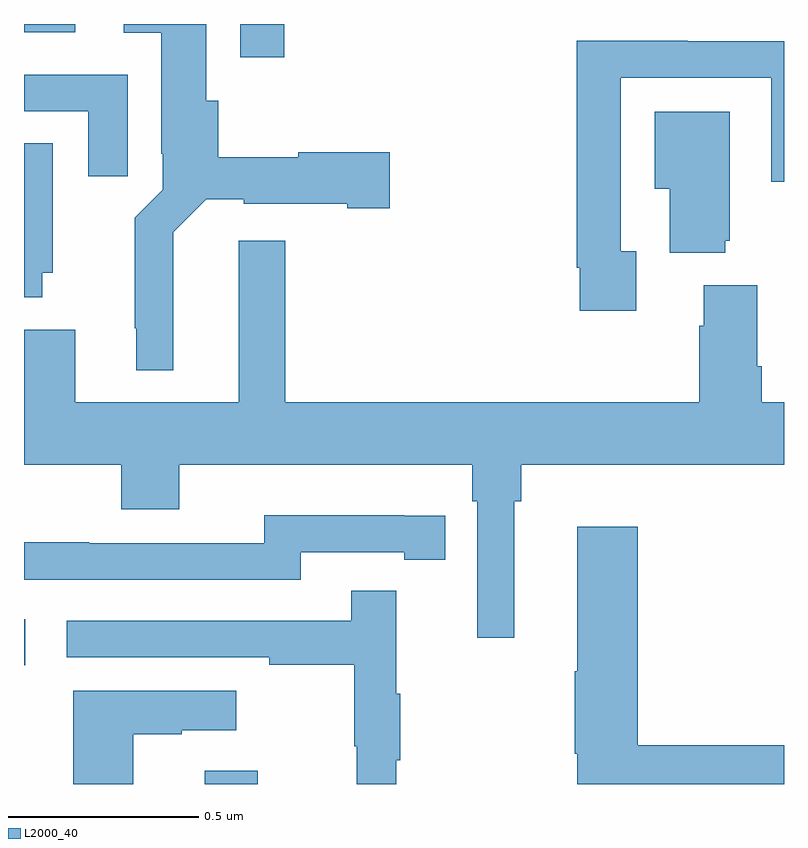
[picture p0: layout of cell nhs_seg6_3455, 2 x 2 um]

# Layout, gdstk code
import gdstk
lib = gdstk.Library(unit=1e-6, precision=1e-09)
def R(c, l, rs):  # rectangles x0, y0, x1, y1
    for r in rs: c.add(gdstk.rectangle(r[:2], r[2:], *l))
def P(c, l, *ps):  # polygons
    for p in ps: c.add(gdstk.Polygon(p, *l))
L2000_40 = (2000, 40)

nhs_seg6_3455 = lib.new_cell('nhs_seg6_3455')
R(nhs_seg6_3455, L2000_40, [(157.475,942.5,157.615,942.535), (157,942.813,157.003,942.934), (157.569,944.412,157.685,944.5), (157,944.478,157.135,944.5)])
P(nhs_seg6_3455, L2000_40, [(157.393,943.952),(157.479,944.039),(157.578,944.039),(157.578,944.027),(157.85,944.027),(157.85,944.015),(157.963,944.015),(157.963,944.162),(157.722,944.162),(157.722,944.149),(157.511,944.149),(157.511,944.298),(157.48,944.298),(157.48,944.5),(157.263,944.5),(157.263,944.477),(157.361,944.477),(157.361,944.158),(157.365,944.158),(157.365,944.064),(157.291,943.99),(157.291,943.699),(157.295,943.699),(157.295,943.589),(157.393,943.589)],
  [(158.611,943.902),(158.571,943.902),(158.571,944.358),(158.967,944.358),(158.967,944.085),(159,944.085),(159,944.454),(158.747,944.454),(158.747,944.456),(158.455,944.456),(158.455,943.858),(158.463,943.858),(158.463,943.746),(158.611,943.746)],
  [(157.273,944.367),(157,944.367),(157,944.271),(157.169,944.271),(157.169,944.1),(157.273,944.1)],
  [(158.846,943.929),(158.857,943.929),(158.857,944.269),(158.66,944.269),(158.66,944.066),(158.699,944.066),(158.699,943.898),(158.846,943.898)],
  [(157.048,943.845),(157.075,943.845),(157.075,944.186),(157,944.186),(157,943.781),(157.048,943.781)],
  [(158.29,943.244),(158.309,943.244),(158.309,943.34),(159,943.34),(159,943.504),(158.942,943.504),(158.942,943.6),(158.929,943.6),(158.929,943.813),(158.789,943.813),(158.789,943.706),(158.777,943.706),(158.777,943.504),(157.688,943.504),(157.688,943.93),(157.565,943.93),(157.565,943.504),(157.135,943.504),(157.135,943.696),(157,943.696),(157,943.34),(157.256,943.34),(157.256,943.223),(157.408,943.223),(157.408,943.34),(158.18,943.34),(158.18,943.244),(158.193,943.244),(158.193,942.885),(158.29,942.885)],
  [(157.728,943.11),(158,943.11),(158,943.09),(158.108,943.09),(158.108,943.206),(158,943.206),(158,943.207),(157.632,943.207),(157.632,943.134),(157.172,943.134),(157.172,943.136),(157,943.136),(157,943.038),(157.728,943.038)],
  [(159,942.602),(158.615,942.602),(158.615,943.177),(158.456,943.177),(158.456,942.797),(158.449,942.797),(158.449,942.579),(158.456,942.579),(158.456,942.5),(159,942.5)],
  [(157.979,942.563),(157.99,942.563),(157.99,942.737),(157.979,942.737),(157.979,943.009),(157.861,943.009),(157.861,942.93),(157.113,942.93),(157.113,942.834),(157.645,942.834),(157.645,942.814),(157.869,942.814),(157.869,942.6),(157.876,942.6),(157.876,942.5),(157.979,942.5)],
  [(157.288,942.631),(157.415,942.631),(157.415,942.641),(157.558,942.641),(157.558,942.745),(157.13,942.745),(157.13,942.5),(157.288,942.5)])

lib.write_gds('nhs_seg6_3455.gds')
